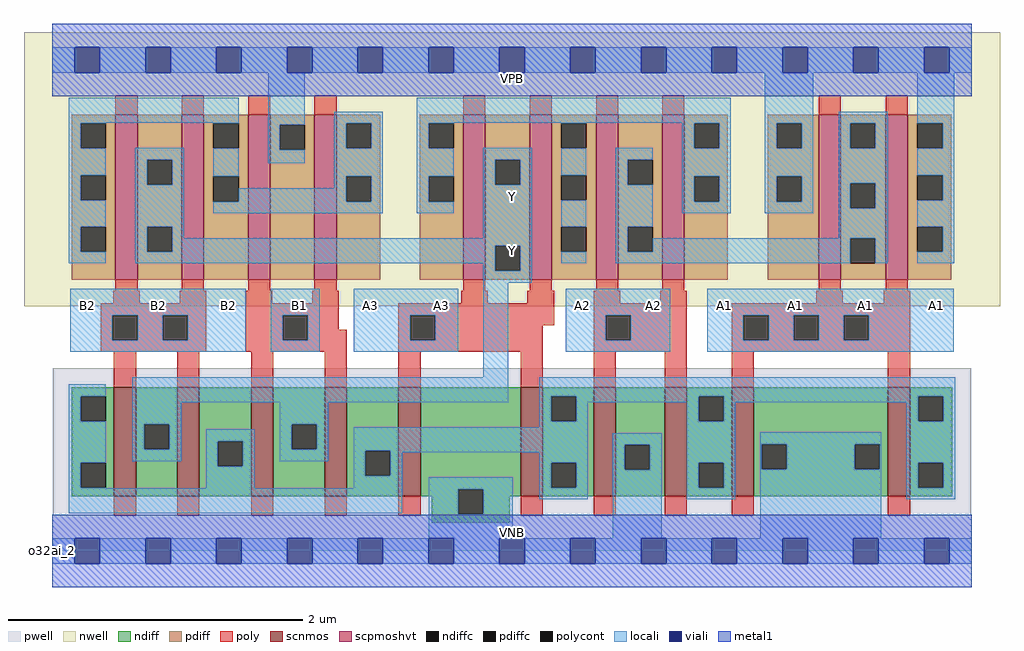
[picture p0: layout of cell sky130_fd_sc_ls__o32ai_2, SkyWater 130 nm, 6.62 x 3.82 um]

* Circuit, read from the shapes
.subckt sky130_fd_sc_ls__o32ai_2 A1 A2 A3 B1 B2 VGND VNB VPB VPWR Y
XM1 Y B2 n1 VNB sky130_fd_pr__nfet_01v8 w=0.74 l=0.15 m=2
XM2 Y B1 n1 VNB sky130_fd_pr__nfet_01v8 w=0.74 l=0.15 m=2
XM3 VGND A3 n1 VNB sky130_fd_pr__nfet_01v8 w=0.74 l=0.15 m=2
XM4 VGND A2 n1 VNB sky130_fd_pr__nfet_01v8 w=0.74 l=0.15 m=2
XM5 VGND A1 n1 VNB sky130_fd_pr__nfet_01v8 w=0.74 l=0.15 m=2
XM6 Y B2 n2 VPB sky130_fd_pr__pfet_01v8_hvt w=1.12 l=0.15 m=2
XM7 VPWR B1 n2 VPB sky130_fd_pr__pfet_01v8_hvt w=1.12 l=0.15 m=2
XM8 Y A3 n3 VPB sky130_fd_pr__pfet_01v8_hvt w=1.12 l=0.15 m=2
XM9 n4 A2 n3 VPB sky130_fd_pr__pfet_01v8_hvt w=1.12 l=0.15 m=2
XM10 n4 A1 VPWR VPB sky130_fd_pr__pfet_01v8_hvt w=1.12 l=0.15 m=2
.ends

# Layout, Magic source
magic
tech sky130A
magscale 1 2
<< nwell >>
rect -38 332 1286 704
<< pwell >>
rect 1 49 1247 248
rect 0 0 1248 49
<< scnmos >>
rect 84 74 114 222
rect 170 74 200 222
rect 270 74 300 222
rect 370 74 400 222
rect 470 74 500 222
rect 636 74 666 222
rect 735 74 765 222
rect 831 74 861 222
rect 922 74 952 222
rect 1134 74 1164 222
<< scpmoshvt >>
rect 86 368 116 592
rect 176 368 206 592
rect 266 368 296 592
rect 356 368 386 592
rect 558 368 588 592
rect 648 368 678 592
rect 738 368 768 592
rect 828 368 858 592
rect 1040 368 1070 592
rect 1131 368 1161 592
<< ndiff >>
rect 27 210 84 222
rect 27 176 39 210
rect 73 176 84 210
rect 27 120 84 176
rect 27 86 39 120
rect 73 86 84 120
rect 27 74 84 86
rect 114 172 170 222
rect 114 138 125 172
rect 159 138 170 172
rect 114 74 170 138
rect 200 149 270 222
rect 200 115 225 149
rect 259 115 270 149
rect 200 74 270 115
rect 300 172 370 222
rect 300 138 325 172
rect 359 138 370 172
rect 300 74 370 138
rect 400 136 470 222
rect 400 102 425 136
rect 459 102 470 136
rect 400 74 470 102
rect 500 84 636 222
rect 500 74 551 84
rect 515 50 551 74
rect 585 74 636 84
rect 666 210 735 222
rect 666 176 677 210
rect 711 176 735 210
rect 666 120 735 176
rect 666 86 677 120
rect 711 86 735 120
rect 666 74 735 86
rect 765 144 831 222
rect 765 110 777 144
rect 811 110 831 144
rect 765 74 831 110
rect 861 210 922 222
rect 861 176 877 210
rect 911 176 922 210
rect 861 120 922 176
rect 861 86 877 120
rect 911 86 922 120
rect 861 74 922 86
rect 952 145 1134 222
rect 952 111 963 145
rect 997 111 1089 145
rect 1123 111 1134 145
rect 952 74 1134 111
rect 1164 210 1221 222
rect 1164 176 1175 210
rect 1209 176 1221 210
rect 1164 120 1221 176
rect 1164 86 1175 120
rect 1209 86 1221 120
rect 1164 74 1221 86
rect 585 50 621 74
rect 515 38 621 50
<< pdiff >>
rect 27 580 86 592
rect 27 546 39 580
rect 73 546 86 580
rect 27 510 86 546
rect 27 476 39 510
rect 73 476 86 510
rect 27 440 86 476
rect 27 406 39 440
rect 73 406 86 440
rect 27 368 86 406
rect 116 531 176 592
rect 116 497 129 531
rect 163 497 176 531
rect 116 440 176 497
rect 116 406 129 440
rect 163 406 176 440
rect 116 368 176 406
rect 206 580 266 592
rect 206 546 219 580
rect 253 546 266 580
rect 206 508 266 546
rect 206 474 219 508
rect 253 474 266 508
rect 206 368 266 474
rect 296 578 356 592
rect 296 544 309 578
rect 343 544 356 578
rect 296 368 356 544
rect 386 580 445 592
rect 386 546 399 580
rect 433 546 445 580
rect 386 508 445 546
rect 386 474 399 508
rect 433 474 445 508
rect 386 368 445 474
rect 499 580 558 592
rect 499 546 511 580
rect 545 546 558 580
rect 499 508 558 546
rect 499 474 511 508
rect 545 474 558 508
rect 499 368 558 474
rect 588 531 648 592
rect 588 497 601 531
rect 635 497 648 531
rect 588 414 648 497
rect 588 380 601 414
rect 635 380 648 414
rect 588 368 648 380
rect 678 580 738 592
rect 678 546 691 580
rect 725 546 738 580
rect 678 510 738 546
rect 678 476 691 510
rect 725 476 738 510
rect 678 440 738 476
rect 678 406 691 440
rect 725 406 738 440
rect 678 368 738 406
rect 768 531 828 592
rect 768 497 781 531
rect 815 497 828 531
rect 768 440 828 497
rect 768 406 781 440
rect 815 406 828 440
rect 768 368 828 406
rect 858 580 917 592
rect 858 546 871 580
rect 905 546 917 580
rect 858 508 917 546
rect 858 474 871 508
rect 905 474 917 508
rect 858 368 917 474
rect 971 580 1040 592
rect 971 546 983 580
rect 1017 546 1040 580
rect 971 508 1040 546
rect 971 474 983 508
rect 1017 474 1040 508
rect 971 368 1040 474
rect 1070 580 1131 592
rect 1070 546 1083 580
rect 1117 546 1131 580
rect 1070 499 1131 546
rect 1070 465 1083 499
rect 1117 465 1131 499
rect 1070 424 1131 465
rect 1070 390 1083 424
rect 1117 390 1131 424
rect 1070 368 1131 390
rect 1161 580 1220 592
rect 1161 546 1174 580
rect 1208 546 1220 580
rect 1161 510 1220 546
rect 1161 476 1174 510
rect 1208 476 1220 510
rect 1161 440 1220 476
rect 1161 406 1174 440
rect 1208 406 1220 440
rect 1161 368 1220 406
<< ndiffc >>
rect 39 176 73 210
rect 39 86 73 120
rect 125 138 159 172
rect 225 115 259 149
rect 325 138 359 172
rect 425 102 459 136
rect 551 50 585 84
rect 677 176 711 210
rect 677 86 711 120
rect 777 110 811 144
rect 877 176 911 210
rect 877 86 911 120
rect 963 111 997 145
rect 1089 111 1123 145
rect 1175 176 1209 210
rect 1175 86 1209 120
<< pdiffc >>
rect 39 546 73 580
rect 39 476 73 510
rect 39 406 73 440
rect 129 497 163 531
rect 129 406 163 440
rect 219 546 253 580
rect 219 474 253 508
rect 309 544 343 578
rect 399 546 433 580
rect 399 474 433 508
rect 511 546 545 580
rect 511 474 545 508
rect 601 497 635 531
rect 601 380 635 414
rect 691 546 725 580
rect 691 476 725 510
rect 691 406 725 440
rect 781 497 815 531
rect 781 406 815 440
rect 871 546 905 580
rect 871 474 905 508
rect 983 546 1017 580
rect 983 474 1017 508
rect 1083 546 1117 580
rect 1083 465 1117 499
rect 1083 390 1117 424
rect 1174 546 1208 580
rect 1174 476 1208 510
rect 1174 406 1208 440
<< poly >>
rect 86 592 116 618
rect 176 592 206 618
rect 266 592 296 618
rect 356 592 386 618
rect 558 592 588 618
rect 648 592 678 618
rect 738 592 768 618
rect 828 592 858 618
rect 1040 592 1070 618
rect 1131 592 1161 618
rect 86 353 116 368
rect 176 353 206 368
rect 266 353 296 368
rect 356 353 386 368
rect 558 353 588 368
rect 648 353 678 368
rect 738 353 768 368
rect 828 353 858 368
rect 1040 353 1070 368
rect 1131 353 1161 368
rect 83 336 119 353
rect 173 336 209 353
rect 66 320 209 336
rect 66 286 82 320
rect 116 286 150 320
rect 184 286 209 320
rect 66 270 209 286
rect 263 336 299 353
rect 353 336 389 353
rect 555 336 591 353
rect 645 336 681 353
rect 263 320 389 336
rect 263 286 313 320
rect 347 300 389 320
rect 470 320 681 336
rect 347 286 400 300
rect 263 270 400 286
rect 84 222 114 270
rect 170 222 200 270
rect 270 222 300 270
rect 370 222 400 270
rect 470 286 486 320
rect 520 306 681 320
rect 735 336 771 353
rect 825 336 861 353
rect 1037 336 1073 353
rect 1128 336 1164 353
rect 735 320 861 336
rect 520 286 666 306
rect 470 270 666 286
rect 470 222 500 270
rect 636 222 666 270
rect 735 286 751 320
rect 785 286 861 320
rect 735 270 861 286
rect 735 222 765 270
rect 831 222 861 270
rect 922 320 1164 336
rect 922 286 938 320
rect 972 286 1006 320
rect 1040 286 1074 320
rect 1108 286 1164 320
rect 922 270 1164 286
rect 922 222 952 270
rect 1134 222 1164 270
rect 84 48 114 74
rect 170 48 200 74
rect 270 48 300 74
rect 370 48 400 74
rect 470 48 500 74
rect 636 48 666 74
rect 735 48 765 74
rect 831 48 861 74
rect 922 48 952 74
rect 1134 48 1164 74
<< polycont >>
rect 82 286 116 320
rect 150 286 184 320
rect 313 286 347 320
rect 486 286 520 320
rect 751 286 785 320
rect 938 286 972 320
rect 1006 286 1040 320
rect 1074 286 1108 320
<< locali >>
rect 0 649 31 683
rect 65 649 127 683
rect 161 649 223 683
rect 257 649 319 683
rect 353 649 415 683
rect 449 649 511 683
rect 545 649 607 683
rect 641 649 703 683
rect 737 649 799 683
rect 833 649 895 683
rect 929 649 991 683
rect 1025 649 1087 683
rect 1121 649 1183 683
rect 1217 649 1248 683
rect 23 581 253 615
rect 23 580 73 581
rect 23 546 39 580
rect 219 580 253 581
rect 23 510 73 546
rect 23 476 39 510
rect 23 440 73 476
rect 23 406 39 440
rect 23 390 73 406
rect 113 531 179 547
rect 113 497 129 531
rect 163 497 179 531
rect 113 440 179 497
rect 219 508 253 546
rect 293 578 343 649
rect 293 544 309 578
rect 293 526 343 544
rect 383 580 449 596
rect 383 546 399 580
rect 433 546 449 580
rect 383 508 449 546
rect 383 492 399 508
rect 253 474 399 492
rect 433 474 449 508
rect 219 458 449 474
rect 495 581 921 615
rect 495 580 545 581
rect 495 546 511 580
rect 691 580 725 581
rect 495 508 545 546
rect 495 474 511 508
rect 495 458 545 474
rect 585 531 651 547
rect 585 497 601 531
rect 635 497 651 531
rect 113 406 129 440
rect 163 424 179 440
rect 585 424 651 497
rect 163 414 651 424
rect 163 406 601 414
rect 113 390 601 406
rect 585 380 601 390
rect 635 380 651 414
rect 855 580 921 581
rect 691 510 725 546
rect 691 440 725 476
rect 691 390 725 406
rect 765 531 815 547
rect 765 497 781 531
rect 765 440 815 497
rect 855 546 871 580
rect 905 546 921 580
rect 855 508 921 546
rect 855 474 871 508
rect 905 474 921 508
rect 855 458 921 474
rect 967 580 1033 649
rect 967 546 983 580
rect 1017 546 1033 580
rect 967 508 1033 546
rect 967 474 983 508
rect 1017 474 1033 508
rect 967 458 1033 474
rect 1067 580 1134 596
rect 1067 546 1083 580
rect 1117 546 1134 580
rect 1067 499 1134 546
rect 1067 465 1083 499
rect 1117 465 1134 499
rect 765 406 781 440
rect 1067 424 1134 465
rect 815 406 1083 424
rect 765 390 1083 406
rect 1117 390 1134 424
rect 1174 580 1224 649
rect 1208 546 1224 580
rect 1174 510 1224 546
rect 1208 476 1224 510
rect 1174 440 1224 476
rect 1208 406 1224 440
rect 1174 390 1224 406
rect 585 364 651 380
rect 25 320 263 356
rect 25 286 82 320
rect 116 286 150 320
rect 184 286 263 320
rect 25 270 263 286
rect 297 320 363 356
rect 297 286 313 320
rect 347 286 363 320
rect 297 270 363 286
rect 409 320 551 356
rect 409 286 486 320
rect 520 286 551 320
rect 409 270 551 286
rect 585 236 619 364
rect 697 320 839 356
rect 697 286 751 320
rect 785 286 839 320
rect 697 270 839 286
rect 889 320 1223 356
rect 889 286 938 320
rect 972 286 1006 320
rect 1040 286 1074 320
rect 1108 286 1223 320
rect 889 270 1223 286
rect 23 210 73 226
rect 23 176 39 210
rect 23 120 73 176
rect 109 202 619 236
rect 661 210 1225 236
rect 109 172 175 202
rect 109 138 125 172
rect 159 138 175 172
rect 309 172 375 202
rect 109 122 175 138
rect 209 149 275 165
rect 23 86 39 120
rect 23 85 73 86
rect 209 115 225 149
rect 259 115 275 149
rect 309 138 325 172
rect 359 138 375 172
rect 661 176 677 210
rect 711 202 877 210
rect 711 176 727 202
rect 661 168 727 176
rect 309 122 375 138
rect 409 136 727 168
rect 861 176 877 202
rect 911 202 1175 210
rect 911 176 927 202
rect 209 85 275 115
rect 409 102 425 136
rect 459 134 727 136
rect 459 102 475 134
rect 409 85 475 102
rect 661 120 727 134
rect 23 51 475 85
rect 511 84 625 100
rect 511 50 551 84
rect 585 50 625 84
rect 661 86 677 120
rect 711 86 727 120
rect 661 70 727 86
rect 761 144 827 160
rect 761 110 777 144
rect 811 110 827 144
rect 511 17 625 50
rect 761 17 827 110
rect 861 120 927 176
rect 1159 176 1175 202
rect 1209 176 1225 210
rect 861 86 877 120
rect 911 86 927 120
rect 861 70 927 86
rect 961 145 1125 161
rect 961 111 963 145
rect 997 111 1089 145
rect 1123 111 1125 145
rect 961 17 1125 111
rect 1159 120 1225 176
rect 1159 86 1175 120
rect 1209 86 1225 120
rect 1159 70 1225 86
rect 0 -17 31 17
rect 65 -17 127 17
rect 161 -17 223 17
rect 257 -17 319 17
rect 353 -17 415 17
rect 449 -17 511 17
rect 545 -17 607 17
rect 641 -17 703 17
rect 737 -17 799 17
rect 833 -17 895 17
rect 929 -17 991 17
rect 1025 -17 1087 17
rect 1121 -17 1183 17
rect 1217 -17 1248 17
<< viali >>
rect 31 649 65 683
rect 127 649 161 683
rect 223 649 257 683
rect 319 649 353 683
rect 415 649 449 683
rect 511 649 545 683
rect 607 649 641 683
rect 703 649 737 683
rect 799 649 833 683
rect 895 649 929 683
rect 991 649 1025 683
rect 1087 649 1121 683
rect 1183 649 1217 683
rect 31 -17 65 17
rect 127 -17 161 17
rect 223 -17 257 17
rect 319 -17 353 17
rect 415 -17 449 17
rect 511 -17 545 17
rect 607 -17 641 17
rect 703 -17 737 17
rect 799 -17 833 17
rect 895 -17 929 17
rect 991 -17 1025 17
rect 1087 -17 1121 17
rect 1183 -17 1217 17
<< metal1 >>
rect 0 683 1248 715
rect 0 649 31 683
rect 65 649 127 683
rect 161 649 223 683
rect 257 649 319 683
rect 353 649 415 683
rect 449 649 511 683
rect 545 649 607 683
rect 641 649 703 683
rect 737 649 799 683
rect 833 649 895 683
rect 929 649 991 683
rect 1025 649 1087 683
rect 1121 649 1183 683
rect 1217 649 1248 683
rect 0 617 1248 649
rect 0 17 1248 49
rect 0 -17 31 17
rect 65 -17 127 17
rect 161 -17 223 17
rect 257 -17 319 17
rect 353 -17 415 17
rect 449 -17 511 17
rect 545 -17 607 17
rect 641 -17 703 17
rect 737 -17 799 17
rect 833 -17 895 17
rect 929 -17 991 17
rect 1025 -17 1087 17
rect 1121 -17 1183 17
rect 1217 -17 1248 17
rect 0 -49 1248 -17
<< labels >>
rlabel comment s 0 0 0 0 4 o32ai_2
flabel pwell s 0 0 1248 49 0 FreeSans 200 0 0 0 VNB
port 7 nsew ground bidirectional
flabel nwell s 0 617 1248 666 0 FreeSans 200 0 0 0 VPB
port 8 nsew power bidirectional
flabel metal1 s 0 617 1248 666 0 FreeSans 340 0 0 0 VPWR
port 9 nsew power bidirectional abutment
flabel metal1 s 0 0 1248 49 0 FreeSans 340 0 0 0 VGND
port 6 nsew ground bidirectional abutment
flabel locali s 31 316 65 350 0 FreeSans 340 0 0 0 B2
port 5 nsew signal input
flabel locali s 127 316 161 350 0 FreeSans 340 0 0 0 B2
port 5 nsew signal input
flabel locali s 223 316 257 350 0 FreeSans 340 0 0 0 B2
port 5 nsew signal input
flabel locali s 319 316 353 350 0 FreeSans 340 0 0 0 B1
port 4 nsew signal input
flabel locali s 415 316 449 350 0 FreeSans 340 0 0 0 A3
port 3 nsew signal input
flabel locali s 511 316 545 350 0 FreeSans 340 0 0 0 A3
port 3 nsew signal input
flabel locali s 703 316 737 350 0 FreeSans 340 0 0 0 A2
port 2 nsew signal input
flabel locali s 799 316 833 350 0 FreeSans 340 0 0 0 A2
port 2 nsew signal input
flabel locali s 895 316 929 350 0 FreeSans 340 0 0 0 A1
port 1 nsew signal input
flabel locali s 991 316 1025 350 0 FreeSans 340 0 0 0 A1
port 1 nsew signal input
flabel locali s 1087 316 1121 350 0 FreeSans 340 0 0 0 A1
port 1 nsew signal input
flabel locali s 1183 316 1217 350 0 FreeSans 340 0 0 0 A1
port 1 nsew signal input
flabel locali s 607 390 641 424 0 FreeSans 340 0 0 0 Y
port 10 nsew signal output
flabel locali s 607 464 641 498 0 FreeSans 340 0 0 0 Y
port 10 nsew signal output
<< properties >>
string LEFsite unit
string LEFclass CORE
string FIXED_BBOX 0 0 1248 666
string GDS_FILE $PDKPATH/libs.ref/sky130_fd_sc_ls/gds/sky130_fd_sc_ls.gds
string LEFsymmetry X Y
string GDS_END 1187010
string GDS_START 1176080
<< end >>
